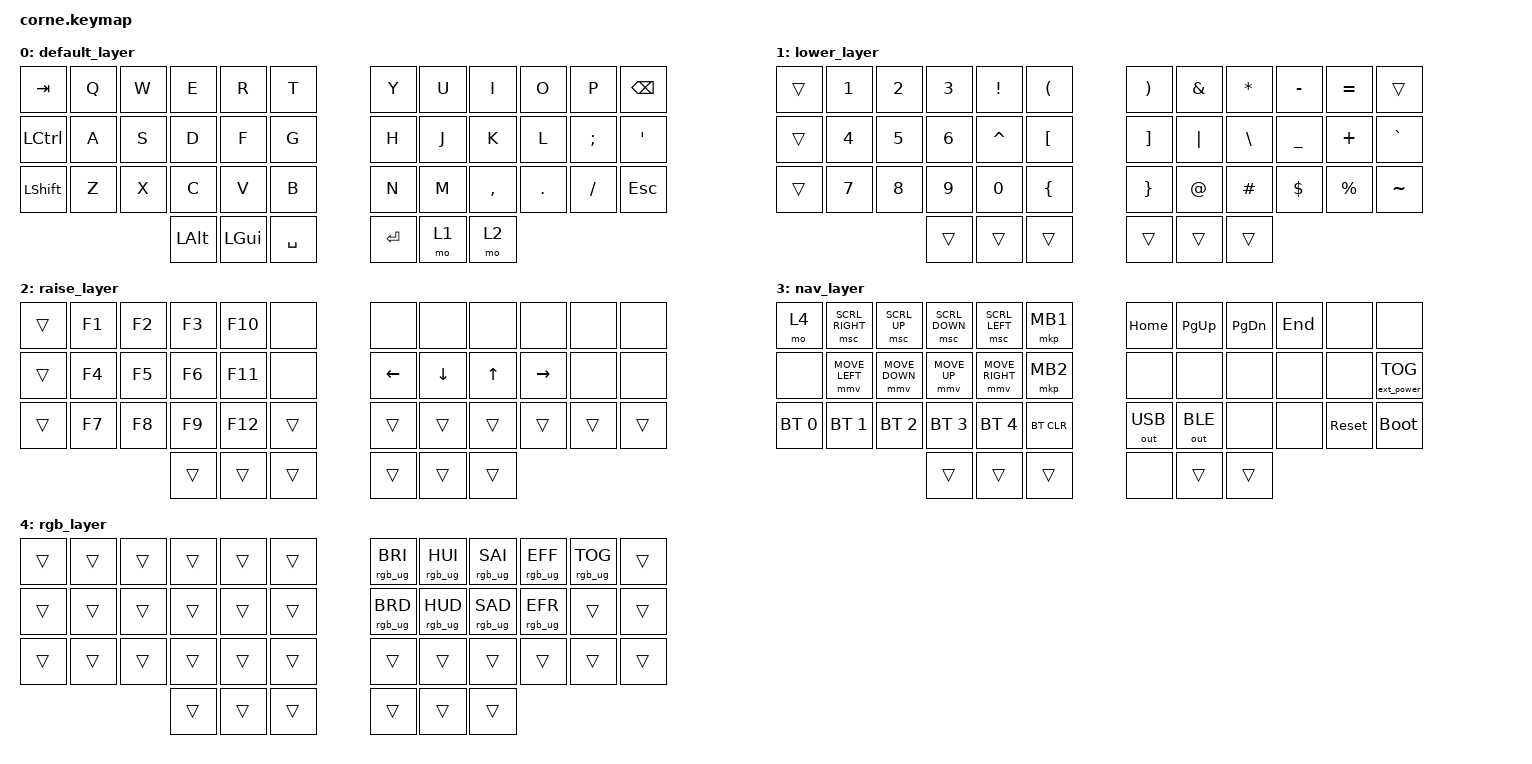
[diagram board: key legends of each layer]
/*
 * Copyright (c) 2020 The ZMK Contributors
 *
 * SPDX-License-Identifier: MIT
 */

#include <behaviors.dtsi>
#include <dt-bindings/zmk/keys.h>
#include <dt-bindings/zmk/bt.h>
#include <dt-bindings/zmk/outputs.h>
#include <dt-bindings/zmk/rgb.h>
#include <dt-bindings/zmk/ext_power.h>
#include <dt-bindings/zmk/mouse.h>

/ {
        conditional_layers {
                compatible = "zmk,conditional-layers";
                tri_layer {
                        if-layers = <1 2>;
                        then-layer = <3>;
                };
        };

        keymap {
                compatible = "zmk,keymap";

                default_layer {
// --------------------------------------------------------------------------------------------------------------------------------------------------------------------------
// |  TAB   |   Q   |   W   |   E   |   R   |   T   |   |   Y   |   U   |   I   |   O   |   P   |  BSPC  |
// |  CTRL  |   A   |   S   |   D   |   F   |   G   |   |   H   |   J   |   K   |   L   |   ;   |   '    |
// |  SHFT  |   Z   |   X   |   C   |   V   |   B   |   |   N   |   M   |   ,   |   .   |   /   |  ESC   |
//                          |  ALT  |  GUI  |  SPC  |   |  ENT  |  LWR  |  RSE  |
                        bindings = <
    &kp TAB    &kp Q    &kp W    &kp E     &kp R     &kp T        &kp Y      &kp U     &kp I      &kp O    &kp P     &kp BSPC
    &kp LCTRL  &kp A    &kp S    &kp D     &kp F     &kp G        &kp H      &kp J     &kp K      &kp L    &kp SEMI  &kp SQT
    &kp LSHFT  &kp Z    &kp X    &kp C     &kp V     &kp B        &kp N      &kp M     &kp COMMA  &kp DOT  &kp FSLH  &kp ESC
                                 &kp LALT  &kp LGUI  &kp SPACE    &kp RET    &mo 1     &mo 2
                        >;
                };

                lower_layer {
// --------------------------------------------------------------------------------------------------------------------------------------------------------------------------
// |  TRANS |   1   |   2   |   3   |   !   |   (   |   |   )   |   &   |   *   |   -   |   =   |  TRANS |
// |  TRANS |   4   |   5   |   6   |   ^   |   [   |   |   ]   |   |   |   \   |   _   |   +   |   `    |
// |  TRANS |   7   |   8   |   9   |   0   |   {   |   |   }   |   @   |   #   |   $   |   %   |   ~    |
//                          | TRANS | TRANS | TRANS |   | TRANS | TRANS | TRANS |
                        bindings = <
    &trans  &kp N1  &kp N2  &kp N3    &kp EXCL   &kp LPAR     &kp RPAR  &kp AMPS   &kp ASTRK  &kp MINUS  &kp EQUAL   &trans
    &trans  &kp N4  &kp N5  &kp N6    &kp CARET  &kp LBKT     &kp RBKT  &kp PIPE   &kp BSLH   &kp UNDER  &kp PLUS    &kp GRAVE
    &trans  &kp N7  &kp N8  &kp N9    &kp N0     &kp LBRC     &kp RBRC  &kp AT     &kp HASH   &kp DLLR   &kp PRCNT   &kp TILDE
                            &trans    &trans     &trans       &trans    &trans     &trans
                        >;
                };

                raise_layer {
// --------------------------------------------------------------------------------------------------------------------------------------------------------------------------
// |  TRANS |  F1   |  F2   |  F3   |  F10  |  NO   |   |  NO   |  NO   |  NO   |  NO   |  NO   |  NO    |
// |  TRANS |  F4   |  F5   |  F6   |  F11  |  NO   |   | LEFT  | DOWN  |  UP   | RIGHT |  NO   |  NO    |
// |  TRANS |  F7   |  F8   |  F9   |  F12  | TRANS |   | TRANS | TRANS | TRANS | TRANS | TRANS |  TRANS |
//                          | TRANS | TRANS | TRANS |   | TRANS | TRANS | TRANS |
                        bindings = <
    &trans  &kp F1  &kp F2  &kp F3  &kp F10  &none     &none   &none     &none   &none      &none   &none
    &trans  &kp F4  &kp F5  &kp F6  &kp F11  &none     &kp LEFT &kp DOWN &kp UP  &kp RIGHT  &none   &none
    &trans  &kp F7  &kp F8  &kp F9  &kp F12  &trans    &trans  &trans    &trans  &trans     &trans  &trans
                            &trans  &trans   &trans    &trans  &trans    &trans
                        >;
                };

                nav_layer {
// --------------------------------------------------------------------------------------------------------------------------------------------------------------------------
// |  LYR4  | SCRL_R| MW_U  | MW_D  |SCRL_L | MB1   |   | HOME  | PG_UP | PG_DN |  END  |  NO   |  NO    |
// |  NO    | M_LT  | M_DN  | M_UP  | M_RT  | MB2   |   |  NO   |  NO   |  NO   |  NO   |  NO   | EP_TOG |
// |  BT 0  | BT 1  | BT 2  | BT 3  | BT 4  | BTCLR |   |  USB  |  BLE  |  NO   |  NO   | RESET | BOOTL  |
//                          | TRANS | TRANS | TRANS |   |  NO   | TRANS | TRANS |
                        bindings = <
    &mo 4         &msc SCRL_RIGHT  &msc SCRL_UP    &msc SCRL_DOWN   &msc SCRL_LEFT   &mkp MB1      &kp HOME      &kp PG_UP     &kp PG_DN  &kp END  &none        &none
    &none         &mmv MOVE_LEFT   &mmv MOVE_DOWN  &mmv MOVE_UP     &mmv MOVE_RIGHT  &mkp MB2      &none         &none         &none      &none    &none        &ext_power EP_TOG
    &bt BT_SEL 0  &bt BT_SEL 1     &bt BT_SEL 2    &bt BT_SEL 3     &bt BT_SEL 4     &bt BT_CLR    &out OUT_USB  &out OUT_BLE  &none      &none    &sys_reset   &bootloader
                                                   &trans           &trans           &trans        &none         &trans        &trans
                        >;
                };

                rgb_layer {
// --------------------------------------------------------------------------------------------------------------------------------------------------------------------------
// |  TRANS |  TRANS |  TRANS |  TRANS |  TRANS |  TRANS |   | BRI+  | HUE+  | SAT+  | EFF+  | TOG   |  TRANS |
// |  TRANS |  TRANS |  TRANS |  TRANS |  TRANS |  TRANS |   | BRI-  | HUE-  | SAT-  | EFF-  | TRANS |  TRANS |
// |  TRANS |  TRANS |  TRANS |  TRANS |  TRANS |  TRANS |   | TRANS | TRANS | TRANS | TRANS | TRANS |  TRANS |
//                            | TRANS | TRANS | TRANS |   | TRANS | TRANS | TRANS |
                        bindings = <
    &trans  &trans  &trans  &trans  &trans  &trans    &rgb_ug RGB_BRI  &rgb_ug RGB_HUI  &rgb_ug RGB_SAI  &rgb_ug RGB_EFF  &rgb_ug RGB_TOG  &trans
    &trans  &trans  &trans  &trans  &trans  &trans    &rgb_ug RGB_BRD  &rgb_ug RGB_HUD  &rgb_ug RGB_SAD  &rgb_ug RGB_EFR  &trans           &trans
    &trans  &trans  &trans  &trans  &trans  &trans    &trans           &trans           &trans           &trans           &trans           &trans
                            &trans  &trans  &trans    &trans           &trans           &trans
                        >;
                };
        };
};
